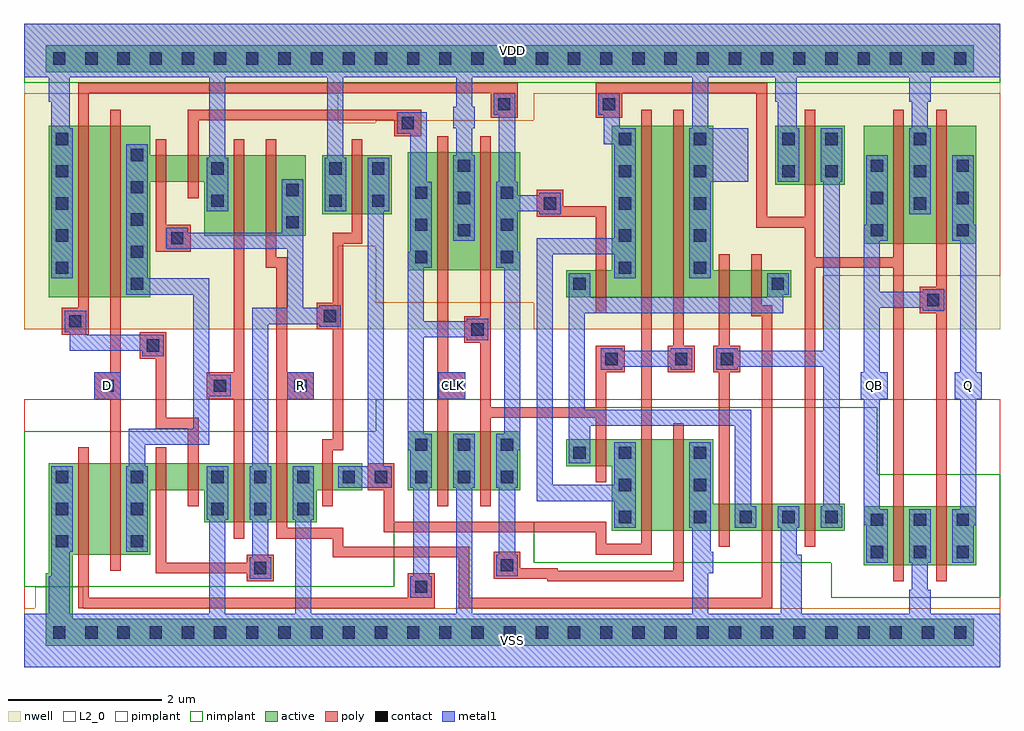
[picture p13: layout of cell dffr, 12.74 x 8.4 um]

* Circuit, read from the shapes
.subckt dffr CLK D Q QB R VDD VSS
M1 n1 n2 VSS VSS nfet w=1.19u l=0.14u
M2 n3 D n1 VSS nfet w=1.19u l=0.14u
M3 n4 n5 n3 VSS nfet w=0.35u l=0.14u
M4 VSS n6 n4 VSS nfet w=0.35u l=0.14u
M5 n5 n3 VSS VSS nfet w=0.77u l=0.14u
M6 VSS R n5 VSS nfet w=0.77u l=0.14u
M7 n7 n5 VSS VSS nfet w=0.35u l=0.14u
M8 VSS CLK n2 VSS nfet w=0.77u l=0.14u
M9 n6 n2 VSS VSS nfet w=0.77u l=0.14u
M10 n8 n2 n9 VSS nfet w=0.35u l=0.14u
M11 n10 n7 n8 VSS nfet w=1.19u l=0.14u
M12 VSS n6 n10 VSS nfet w=1.19u l=0.14u
M13 n9 n11 VSS VSS nfet w=0.35u l=0.14u
M14 VSS R n9 VSS nfet w=0.35u l=0.14u
M15 n11 n8 VSS VSS nfet w=0.35u l=0.14u
M16 VSS n8 QB VSS nfet w=0.77u l=0.14u
M17 Q QB VSS VSS nfet w=0.77u l=0.14u
M18 n12 n6 VDD VDD pfet w=2.24u l=0.14u
M19 n3 D n12 VDD pfet w=2.24u l=0.14u
M20 n13 n5 n3 VDD pfet w=0.35u l=0.14u
M21 VDD n2 n13 VDD pfet w=0.35u l=0.14u
M22 n14 n3 VDD VDD pfet w=1.05u l=0.14u
M23 n5 R n14 VDD pfet w=1.05u l=0.14u
M24 n7 n5 VDD VDD pfet w=0.77u l=0.14u
M25 VDD CLK n2 VDD pfet w=1.54u l=0.14u
M26 n6 n2 VDD VDD pfet w=1.54u l=0.14u
M27 n8 n6 n9 VDD pfet w=0.35u l=0.14u
M28 n15 n7 n8 VDD pfet w=2.24u l=0.14u
M29 VDD n2 n15 VDD pfet w=2.24u l=0.14u
M30 n16 n11 VDD VDD pfet w=0.35u l=0.14u
M31 n9 R n16 VDD pfet w=0.35u l=0.14u
M32 n11 n8 VDD VDD pfet w=0.77u l=0.14u
M33 VDD n8 QB VDD pfet w=1.54u l=0.14u
M34 Q QB VDD VDD pfet w=1.54u l=0.14u
.ends

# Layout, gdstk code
import gdstk
lib = gdstk.Library(unit=1e-6, precision=1e-09)
def R(c, l, rs):  # rectangles x0, y0, x1, y1
    for r in rs: c.add(gdstk.rectangle(r[:2], r[2:], *l))
def A(c, l, x, y, w, h, nx, ny, dx, dy):  # array of equal rectangles
    R(c, l, [(x+i*dx, y+j*dy, x+i*dx+w, y+j*dy+h) for i in range(nx) for j in range(ny)])
def P(c, l, *ps):  # polygons
    for p in ps: c.add(gdstk.Polygon(p, *l))
L2_0 = (2, 0)
nwell = (3, 0)
active = (6, 0)
poly = (17, 0)
pimplant = (25, 0)
nimplant = (26, 0)
contact = (30, 0)
metal1 = (31, 0)

adk_poly_m1 = lib.new_cell('ADK_poly_m1')
R(adk_poly_m1, poly, [(-0.175,-0.175,0.175,0.175)])
R(adk_poly_m1, contact, [(-0.08,-0.08,0.08,0.08)])
R(adk_poly_m1, metal1, [(-0.175,-0.175,0.175,0.175)])

dffr = lib.new_cell('dffr')
R(dffr, L2_0, [(0,0,12.74,3.5)])
R(dffr, nwell, [(0,4.41,12.74,8.4), (4.59,4.76,6.9,7.14), (10.54,5.11,12.74,7.49), (3.47,5.495,5.22,7.105), (9.385,5.88,11.135,7.49)])
P(dffr, nwell, [(10.435,4.41),(10.435,5.6),(9.42,5.6),(9.42,7.49),(7.25,7.49),(7.25,5.6),(6.655,5.6),(6.655,4.41)],
  [(0,4.41),(1.97,4.41),(1.97,5.215),(4.1,5.215),(4.1,7.105),(2.07,7.105),(2.07,7.49),(0,7.49)])
R(dffr, active, [(0.285,0.28,12.395,0.63), (0.285,0.63,0.635,1.225), (0.32,1.225,0.635,1.47), (10.96,1.33,11.345,2.1), (10.96,1.33,12.43,2.1), (12.045,1.33,12.43,2.1), (0.32,1.47,0.705,2.66), (10.33,1.785,10.715,2.135), (4.03,2.31,4.415,2.66), (5.01,2.31,5.395,3.08), (5.01,2.31,6.48,3.08), (6.095,2.31,6.48,3.08), (7.075,2.625,7.46,2.975), (0.32,4.83,0.705,7.07), (7.075,4.83,7.46,5.18), (9.63,4.83,10.015,5.18), (5.01,5.18,5.395,6.72), (5.01,5.18,6.48,6.72), (6.095,5.18,6.48,6.72), (10.96,5.53,11.345,7.07), (10.96,5.53,12.43,7.07), (12.045,5.53,12.43,7.07), (3.295,5.635,3.68,6.685), (3.89,5.915,4.275,6.685), (3.89,5.915,4.8,6.685), (4.415,5.915,4.8,6.685), (9.805,6.3,10.19,7.07), (9.805,6.3,10.715,7.07), (10.33,6.3,10.715,7.07), (0.285,7.77,12.395,8.12)])
P(dffr, active, [(10.715,1.785),(10.715,2.135),(9,2.135),(9,2.975),(7.075,2.975),(7.075,2.625),(7.67,2.625),(7.67,1.785)],
  [(10.015,4.83),(10.015,5.18),(9,5.18),(9,7.07),(7.67,7.07),(7.67,5.18),(7.075,5.18),(7.075,4.83)],
  [(1.65,4.83),(1.65,6.335),(2.35,6.335),(2.35,5.635),(3.68,5.635),(3.68,6.685),(1.65,6.685),(1.65,7.07),(0.32,7.07),(0.32,4.83)],
  [(1.65,1.47),(1.65,2.31),(2.35,2.31),(2.35,1.89),(3.82,1.89),(3.82,2.31),(4.415,2.31),(4.415,2.66),(0.32,2.66),(0.32,1.47)])
A(dffr, poly, 9.07, 1.575, 0.14, 0.21, 3, 2, 0.56, 0.56)
A(dffr, poly, 9.07, 1.785, 0.14, 0.35, 3, 1, 0.56, 0)
R(dffr, poly, [(5.01,0.875,5.36,1.225), (9.63,0.875,9.77,1.61), (2.91,1.12,3.26,1.47), (11.345,1.12,11.485,1.33), (11.905,1.12,12.045,1.33), (6.13,1.155,6.48,1.505), (0.705,1.26,0.845,1.47), (1.125,1.26,1.265,1.47), (11.345,1.33,11.485,2.1), (11.905,1.33,12.045,2.1), (0.705,1.47,0.845,2.66), (1.125,1.47,1.265,2.66), (8.055,1.575,8.195,1.785), (8.475,1.575,8.615,1.785), (2.735,1.68,2.875,1.89), (3.295,1.68,3.435,1.89), (8.055,1.785,8.195,2.975), (8.475,1.785,8.615,2.975), (2.735,1.89,2.875,2.66), (3.295,1.89,3.435,2.66), (1.72,2.1,1.86,2.31), (2.14,2.1,2.28,2.31), (3.89,2.1,4.03,2.31), (5.395,2.1,5.535,2.31), (5.955,2.1,6.095,2.31), (11.345,2.1,11.485,2.31), (11.905,2.1,12.045,2.31), (11.905,2.24,12.045,5.355), (11.345,2.275,11.485,5.355), (1.72,2.31,1.86,2.66), (2.14,2.31,2.28,2.66), (3.89,2.31,4.03,2.66), (4.485,2.31,4.835,2.66), (5.395,2.31,5.535,3.08), (5.955,2.31,6.095,3.08), (9.07,2.31,9.21,4.655), (10.19,2.31,10.33,6.125), (7.46,2.415,7.6,2.625), (7.46,2.625,7.6,2.975), (0.705,2.66,0.845,2.87), (1.125,2.66,1.265,2.87), (1.72,2.66,1.86,2.87), (2.14,2.66,2.28,2.87), (2.735,2.66,2.875,2.87), (3.295,2.66,3.435,2.87), (3.89,2.66,4.03,2.87), (1.125,2.835,1.265,4.655), (2.735,2.835,2.875,5.46), (7.46,2.975,7.6,3.185), (8.055,2.975,8.195,3.185), (8.475,2.975,8.615,3.185), (5.395,3.08,5.535,3.29), (5.955,3.08,6.095,3.29), (7.46,3.15,7.6,4.2), (8.055,3.15,8.195,4.655), (5.395,3.255,5.535,5.005), (5.955,3.255,6.095,5.005), (6.095,3.255,7.46,3.395), (2.385,3.5,2.735,3.85), (7.495,3.85,7.845,4.2), (8.405,3.85,8.755,4.2), (9,3.85,9.35,4.2), (1.51,4.025,1.86,4.375), (8.475,4.2,8.615,4.655), (5.745,4.235,6.095,4.585), (0.495,4.34,0.845,4.69), (3.82,4.41,4.17,4.76), (0.705,4.62,0.845,4.83), (1.125,4.62,1.265,4.83), (7.46,4.62,7.6,4.83), (8.055,4.62,8.195,4.83), (8.475,4.62,8.615,4.83), (9.07,4.62,9.21,4.83), (9.49,4.62,9.63,4.83), (11.695,4.62,12.045,4.97), (0.705,4.83,0.845,7.07), (1.125,4.83,1.265,7.07), (7.46,4.83,7.6,5.18), (8.055,4.83,8.195,7.07), (8.475,4.83,8.615,7.07), (9.07,4.83,9.21,5.18), (9.49,4.83,9.63,5.18), (5.395,4.97,5.535,5.18), (5.955,4.97,6.095,5.18), (5.395,5.18,5.535,6.72), (5.955,5.18,6.095,6.72), (7.46,5.18,7.6,5.39), (9.07,5.18,9.21,5.39), (9.49,5.18,9.63,5.39), (10.33,5.215,11.345,5.355), (11.345,5.32,11.485,5.53), (11.905,5.32,12.045,5.53), (1.72,5.425,1.86,6.16), (1.825,5.425,2.175,5.775), (2.735,5.425,2.875,5.635), (3.155,5.425,3.295,5.635), (11.345,5.53,11.485,7.07), (11.905,5.53,12.045,7.07), (2.735,5.635,2.875,6.685), (3.155,5.635,3.295,6.685), (4.275,5.705,4.415,5.915), (6.69,5.88,7.04,6.23), (4.275,5.915,4.415,6.685), (10.19,6.09,10.33,6.3), (1.72,6.125,1.86,6.335), (2.14,6.125,2.28,6.335), (10.19,6.3,10.33,7.07), (1.72,6.335,1.86,6.685), (2.14,6.335,2.28,6.685), (1.72,6.685,1.86,6.895), (2.14,6.685,2.28,6.895), (2.735,6.685,2.875,6.895), (3.155,6.685,3.295,6.895), (4.275,6.685,4.415,6.895), (5.395,6.72,5.535,6.93), (5.955,6.72,6.095,6.93), (4.835,6.93,5.185,7.28), (0.705,7.07,0.845,7.28), (1.125,7.07,1.265,7.28), (8.055,7.07,8.195,7.28), (8.475,7.07,8.615,7.28), (10.19,7.07,10.33,7.28), (11.345,7.07,11.485,7.28), (11.905,7.07,12.045,7.28), (6.095,7.175,6.445,7.525), (7.46,7.175,7.81,7.525)])
P(dffr, poly, [(3.295,1.68),(4.03,1.68),(4.03,1.435),(5.675,1.435),(5.675,0.77),(9.77,0.77),(9.77,0.875),(9.63,0.875),(9.63,0.91),(5.815,0.91),(5.815,1.575),(4.17,1.575),(4.17,1.82),(3.295,1.82)],
  [(6.48,1.155),(6.83,1.155),(6.83,1.12),(8.615,1.12),(8.615,1.61),(8.475,1.61),(8.475,1.26),(6.97,1.26),(6.97,1.295),(6.48,1.295)],
  [(0.705,0.77),(5.36,0.77),(5.36,0.91),(0.845,0.91),(0.845,1.295),(0.705,1.295)],
  [(3.155,5.215),(3.295,5.215),(3.295,2.835),(3.435,2.835),(3.435,5.355),(3.295,5.355),(3.295,5.46),(3.155,5.46)],
  [(4.03,4.76),(4.17,4.76),(4.17,5.53),(4.415,5.53),(4.415,5.74),(4.275,5.74),(4.275,5.67),(4.03,5.67)],
  [(0.705,7.245),(0.845,7.245),(0.845,7.49),(6.445,7.49),(6.445,7.63),(0.705,7.63)],
  [(3.89,2.835),(4.17,2.835),(4.17,4.41),(4.03,4.41),(4.03,2.975),(3.89,2.975)],
  [(1.72,3.115),(2.14,3.115),(2.14,2.835),(2.28,2.835),(2.28,3.255),(1.86,3.255),(1.86,4.025),(1.72,4.025)],
  [(7.04,5.88),(7.46,5.88),(7.46,5.355),(7.6,5.355),(7.6,6.02),(7.04,6.02)],
  [(1.72,1.225),(2.91,1.225),(2.91,1.365),(1.86,1.365),(1.86,2.135),(1.72,2.135)],
  [(2.14,6.86),(2.28,6.86),(2.28,7.14),(4.835,7.14),(4.835,7.28),(2.14,7.28)],
  [(4.695,1.76),(7.46,1.76),(7.46,1.47),(8.195,1.47),(8.195,1.61),(7.6,1.61),(7.6,1.9),(4.835,1.9),(4.835,2.31),(4.695,2.31)],
  [(9.49,4.585),(9.63,4.585),(9.63,2.31),(9.77,2.31),(9.77,4.725),(9.49,4.725)],
  [(7.46,7.49),(9.56,7.49),(9.56,5.74),(10.19,5.74),(10.19,5.88),(9.7,5.88),(9.7,7.63),(7.46,7.63)])
R(dffr, pimplant, [(0,0,12.74,0.77), (0.145,0.77,0.775,1.05), (0,4.41,4.1,7.49), (6.655,4.41,10.435,7.49), (4.59,4.76,6.9,7.14), (10.435,5.11,10.54,5.88), (10.54,5.11,12.74,7.49), (3.47,5.495,5.22,7.105), (9.385,5.88,11.135,7.49)])
R(dffr, nimplant, [(10.54,0.91,12.74,2.52), (0,1.05,4.835,3.08), (6.655,1.365,11.135,3.395), (4.59,1.89,6.9,3.5), (0,7.63,12.74,8.4)])
A(dffr, contact, 0.38, 0.375, 0.16, 0.16, 29, 2, 0.42, 7.49)
A(dffr, contact, 11.055, 1.425, 0.16, 0.16, 3, 2, 0.56, 0.42)
A(dffr, contact, 0.415, 1.565, 0.16, 0.16, 1, 3, 0, 0.42)
A(dffr, contact, 1.395, 1.565, 0.16, 0.16, 1, 3, 0, 0.42)
A(dffr, contact, 7.765, 1.88, 0.16, 0.16, 1, 3, 0, 0.42)
A(dffr, contact, 8.745, 1.88, 0.16, 0.16, 1, 3, 0, 0.42)
A(dffr, contact, 9.34, 1.88, 0.16, 0.16, 3, 1, 0.56, 0)
A(dffr, contact, 2.445, 1.985, 0.16, 0.16, 3, 2, 0.56, 0.42)
A(dffr, contact, 5.105, 2.405, 0.16, 0.16, 3, 2, 0.56, 0.42)
A(dffr, contact, 1.395, 4.925, 0.16, 0.16, 1, 5, 0, 0.42)
A(dffr, contact, 0.415, 5.135, 0.16, 0.16, 1, 5, 0, 0.42)
A(dffr, contact, 5.105, 5.275, 0.16, 0.16, 1, 3, 0, 0.42)
A(dffr, contact, 6.225, 5.275, 0.16, 0.16, 1, 3, 0, 0.42)
A(dffr, contact, 5.665, 5.625, 0.16, 0.16, 1, 3, 0, 0.42)
A(dffr, contact, 11.055, 5.625, 0.16, 0.16, 1, 3, 0, 0.42)
A(dffr, contact, 12.175, 5.625, 0.16, 0.16, 1, 3, 0, 0.42)
A(dffr, contact, 6.785, 5.975, 0.16, 0.16, 3, 1, 0.98, 0)
A(dffr, contact, 11.615, 5.975, 0.16, 0.16, 1, 3, 0, 0.42)
R(dffr, contact, [(5.105,0.97,5.265,1.13), (3.005,1.215,3.165,1.375), (6.225,1.25,6.385,1.41), (4.16,2.405,4.32,2.565), (4.58,2.405,4.74,2.565), (7.17,2.72,7.33,2.88), (2.48,3.595,2.64,3.755), (7.59,3.945,7.75,4.105), (8.5,3.945,8.66,4.105), (9.095,3.945,9.255,4.105), (1.605,4.12,1.765,4.28), (5.84,4.33,6,4.49), (0.59,4.435,0.75,4.595), (3.915,4.505,4.075,4.665), (11.79,4.715,11.95,4.875), (7.17,4.925,7.33,5.085), (9.76,4.925,9.92,5.085), (7.765,5.135,7.925,5.295), (8.745,5.135,8.905,5.295), (1.92,5.52,2.08,5.68), (7.765,5.555,7.925,5.715), (8.745,5.555,8.905,5.715), (3.425,5.73,3.585,5.89), (2.445,6.01,2.605,6.17), (3.985,6.01,4.145,6.17), (4.545,6.01,4.705,6.17), (3.425,6.15,3.585,6.31), (7.765,6.395,7.925,6.555), (8.745,6.395,8.905,6.555), (9.9,6.395,10.06,6.555), (10.46,6.395,10.62,6.555), (2.445,6.43,2.605,6.59), (3.985,6.43,4.145,6.59), (4.545,6.43,4.705,6.59), (7.765,6.815,7.925,6.975), (8.745,6.815,8.905,6.975), (9.9,6.815,10.06,6.975), (10.46,6.815,10.62,6.975), (4.93,7.025,5.09,7.185), (6.19,7.27,6.35,7.43), (7.555,7.27,7.715,7.43)])
A(dffr, metal1, 10.995, 1.365, 0.28, 0.7, 3, 1, 0.56, 0)
A(dffr, metal1, 9.28, 1.82, 0.28, 0.28, 3, 1, 0.56, 0)
A(dffr, metal1, 2.385, 1.925, 0.28, 0.7, 3, 1, 0.56, 0)
A(dffr, metal1, 5.045, 2.345, 0.28, 0.7, 3, 1, 0.56, 0)
R(dffr, metal1, [(0,0,12.74,0.7), (0.32,0.7,0.6,1.19), (2.42,0.7,2.63,1.925), (3.54,0.7,3.75,1.925), (5.64,0.7,5.85,2.345), (8.72,0.7,8.93,1.225), (9.875,0.7,10.155,1.47), (11.555,0.7,11.835,1.015), (5.045,0.91,5.325,1.19), (11.59,1.015,11.8,1.365), (2.945,1.155,3.225,1.435), (0.355,1.19,0.6,1.505), (5.08,1.19,5.29,2.345), (6.165,1.19,6.445,1.47), (8.72,1.225,9,1.505), (2.98,1.435,3.19,1.925), (6.2,1.47,6.41,2.345), (9.875,1.47,10.085,1.82), (0.355,1.505,0.635,2.625), (1.335,1.505,1.615,2.625), (8.72,1.505,8.965,1.82), (7.705,1.82,7.985,2.94), (8.685,1.82,8.965,2.94), (10.96,1.855,11.17,5.775), (12.22,1.855,12.43,5.775), (10.435,2.1,10.645,6.335), (4.1,2.345,4.38,2.625), (4.38,2.345,4.555,2.555), (4.52,2.345,4.8,2.625), (7.11,2.66,7.39,2.94), (5.01,2.835,5.22,5.425), (6.27,2.835,6.48,5.425), (7.11,2.94,7.32,4.865), (0.915,3.495,1.265,3.845), (3.435,3.495,3.785,3.845), (5.41,3.5,5.76,3.85), (10.925,3.5,11.275,3.85), (10.925,3.5,11.275,3.85), (12.15,3.5,12.5,3.85), (12.15,3.5,12.5,3.85), (2.42,3.535,2.7,3.815), (7.53,3.885,7.81,4.165), (8.44,3.885,8.72,4.165), (9.035,3.885,9.315,4.165), (7.81,3.92,8.44,4.13), (9.315,3.92,10.435,4.13), (1.545,4.06,1.825,4.34), (5.78,4.27,6.06,4.55), (5.22,4.305,5.78,4.515), (0.53,4.375,0.81,4.655), (3.855,4.445,4.135,4.725), (11.73,4.655,12.01,4.935), (11.17,4.69,11.73,4.9), (1.335,4.865,1.615,6.825), (7.11,4.865,7.39,5.145), (9.7,4.865,9.98,5.145), (0.355,5.075,0.635,7.035), (7.705,5.075,7.985,7.035), (8.685,5.075,8.965,7.035), (5.045,5.215,5.325,6.335), (6.165,5.215,6.445,6.335), (1.86,5.46,2.14,5.74), (2.14,5.46,3.645,5.67), (5.605,5.565,5.885,6.685), (10.995,5.565,11.275,6.685), (12.115,5.565,12.395,6.685), (3.365,5.67,3.645,6.37), (6.725,5.915,7.005,6.195), (11.555,5.915,11.835,7.035), (2.385,5.95,2.665,6.65), (3.925,5.95,4.205,6.65), (4.485,5.95,4.765,6.65), (6.445,5.95,6.725,6.16), (5.045,6.335,5.255,7.245), (6.2,6.335,6.41,7.35), (8.965,6.335,9.455,7.035), (9.84,6.335,10.12,7.035), (10.4,6.335,10.68,7.035), (2.42,6.65,2.63,7.7), (3.96,6.65,4.17,7.7), (5.64,6.685,5.85,7.035), (4.87,6.965,5.15,7.245), (0.355,7.035,0.6,7.385), (5.605,7.035,5.885,7.315), (8.72,7.035,8.93,7.7), (9.84,7.035,10.085,7.385), (11.59,7.035,11.8,7.385), (6.13,7.21,6.41,7.49), (7.495,7.21,7.775,7.49), (5.64,7.315,5.85,7.7), (0.32,7.385,0.6,7.7), (9.805,7.385,10.085,7.7), (11.555,7.385,11.835,7.7), (0,7.7,12.74,8.4)])
P(dffr, metal1, [(7.565,6.825),(7.705,6.825),(7.705,7.035),(7.775,7.035),(7.775,7.21),(7.565,7.21)],
  [(3.435,4.48),(3.855,4.48),(3.855,4.69),(3.645,4.69),(3.645,5.46),(3.435,5.46)],
  [(7.18,4.62),(9.91,4.62),(9.91,4.865),(9.7,4.865),(9.7,4.83),(7.39,4.83),(7.39,4.865),(7.18,4.865)],
  [(6.69,2.17),(7.705,2.17),(7.705,2.38),(6.9,2.38),(6.9,5.39),(7.705,5.39),(7.705,5.6),(6.69,5.6)],
  [(7.18,2.94),(7.39,2.94),(7.39,3.15),(9.28,3.15),(9.28,2.1),(9.49,2.1),(9.49,3.36),(7.18,3.36)],
  [(0.6,4.13),(1.545,4.13),(1.545,4.34),(0.81,4.34),(0.81,4.375),(0.6,4.375)],
  [(1.37,2.625),(1.58,2.625),(1.58,2.905),(2.42,2.905),(2.42,5.075),(1.615,5.075),(1.615,4.865),(2.21,4.865),(2.21,3.115),(1.37,3.115)],
  [(2.98,2.625),(3.19,2.625),(3.19,4.48),(3.435,4.48),(3.435,4.69),(2.98,4.69)],
  [(4.38,2.415),(4.695,2.415),(4.695,5.95),(4.485,5.95),(4.485,2.625),(4.38,2.625)])
dffr.add(gdstk.Reference(adk_poly_m1, (1.09,3.675)))
dffr.add(gdstk.Reference(adk_poly_m1, (3.61,3.675)))
dffr.add(gdstk.Reference(adk_poly_m1, (5.585,3.675)))
dffr.add(gdstk.Label('VSS', (6.37,0.35), layer=131, texttype=0))
dffr.add(gdstk.Label('D', (1.09,3.675), layer=131, texttype=0))
dffr.add(gdstk.Label('CLK', (5.605,3.675), layer=131, texttype=0))
dffr.add(gdstk.Label('R', (3.61,3.675), layer=131, texttype=0))
dffr.add(gdstk.Label('VDD', (6.37,8.05), layer=131, texttype=0))
dffr.add(gdstk.Label('QB', (11.1,3.675), layer=131, texttype=0))
dffr.add(gdstk.Label('Q', (12.325,3.675), layer=131, texttype=0))

lib.write_gds('dffr.gds')
